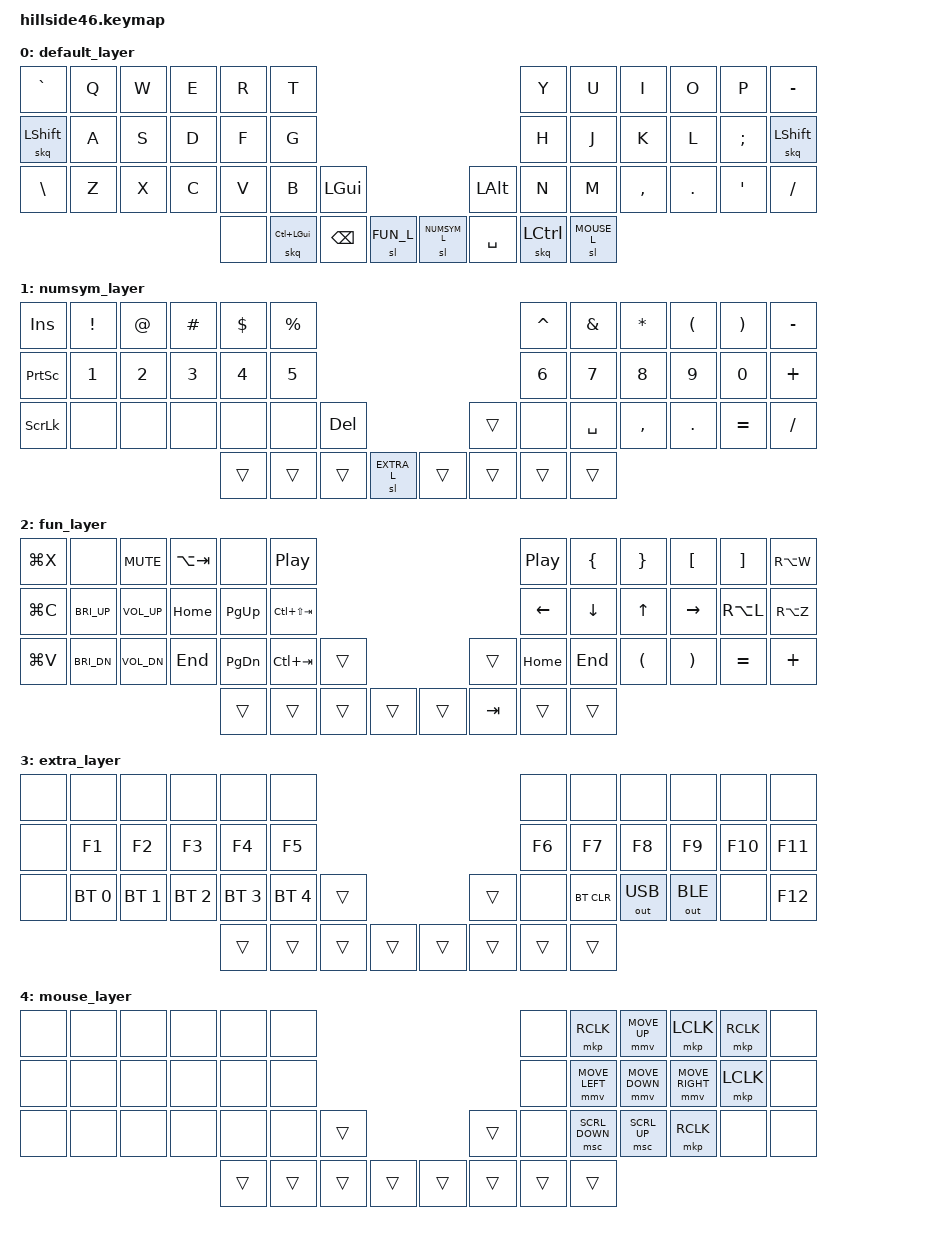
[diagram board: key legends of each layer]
/*
 * Copyright (c) 2021-2022 The ZMK Contributors
 *
 * SPDX-License-Identifier: MIT
 */

#include <behaviors.dtsi>
#include <dt-bindings/zmk/bt.h>
#include <dt-bindings/zmk/ext_power.h>
#include <dt-bindings/zmk/keys.h>
#include <dt-bindings/zmk/outputs.h>
#include <dt-bindings/zmk/mouse.h>
#include <behaviors/mouse_keys.dtsi>

#define QWERTY_L 0
#define NUMSYM_L 1
#define FUN_L    2
#define EXTRA_L  3
#define MOUSE_L  4

#define Undo   LG(Z)
#define Cut    LG(X)
#define Copy   LG(C)
#define Paste  LG(V)
#define Redo   LG(Y)

// MacOS
/* #define NOR_AE      RALT(KC_QUOTE) */
/* #define NOR_OE      RALT(KC_O) */
/* #define NOR_AA      RALT(KC_A) */
// Linux
#define NOR_AE      RA(Z)
#define NOR_OE      RA(L)
#define NOR_AA      RA(W)


/ {
        combos {
            compatible = "zmk,combos";

            escape {
                timeout-ms = <50>;
                key-positions = <30 40>;
                bindings = <&kp ESC>;
            };

            enter {
                timeout-ms = <50>;
                key-positions = <31 43>;
                bindings = <&kp ENTER>;
            };
        };

        behaviors {
            skq: sticky_key_quick_release {
                compatible = "zmk,behavior-sticky-key";
                label = "STICKY_KEY_QUICK_RELEASE";
                #binding-cells = <1>;
                bindings = <&kp>;
                release-after-ms = <1000>;
                quick-release;
            };
        };

        keymap {
                compatible = "zmk,keymap";

                default_layer {
/* QWERTY
 * -------------------------------------------------------------------------------------------------------------------------------------
 * | `     |   Q   |   W   |   E   |   R   |   T   |-----------------------------------|   Y   |   U   |   I   |   O   |   P   |   -   |
 * |OSMLSft|   A   |   S   |   D   |   F   |   G   |-----------------------------------|   H   |   J   |   K   |   L   |   ;   |OSMLSft|
 * | \     |   Z   |   X   |   C   |   V   |   B   |  GUI  |-------------------| ALT   |   N   |   M   |   ,   |   .   |   '   |   /   |
 *                                 |       |  WM   |  BKSP |  FUN  |---| NumSym| SPACE |  CTRL | MOUSE |
 */
                        bindings = <
&kp  GRAVE    &kp  Q        &kp  W        &kp  E        &kp  R        &kp  T                                                                         &kp  Y        &kp  U        &kp  I        &kp  O        &kp  P        &kp  MINUS
&skq LSHIFT   &kp  A        &kp  S        &kp  D        &kp  F        &kp  G                                                                         &kp  H        &kp  J        &kp  K        &kp  L        &kp  SEMI     &skq LSHIFT
&kp  BSLH     &kp  Z        &kp  X        &kp  C        &kp  V        &kp  B        &kp LGUI                                            &kp LALT     &kp  N        &kp  M        &kp  COMMA    &kp  DOT      &kp  SQT      &kp  SLASH
                                                        &none         &skq LC(LGUI) &kp  BKSP      &sl  FUN_L            &sl  NUMSYM_L  &kp SPACE    &skq LCTRL    &sl MOUSE_L
                        >;
                };
		
                numsym_layer {
/* NUMSYM
 * -------------------------------------------------------------------------------------------------------------------------------------
 * |Insert |   !   |   @   |   #   |   $   |   %   |-----------------------------------|   ^   |   &   |   *   |   (   |   )   |   -   |
 * |PrnScrn|   1   |   2   |   3   |   4   |   5   |-----------------------------------|   6   |   7   |   8   |   9   |   0   |   +   |
 * |ScrLck |       |       |       |       |       | Delete|-------------------|       |       | Space |   ,   |   .   |   =   |   /   |
 *                                 |       |       |       |  Extra |---|      |       |       |       |
 */
                        bindings = <
&kp INS     &kp  EXCL     &kp  AT       &kp  HASH     &kp  DOLLAR   &kp  PERCENT                                                                   &kp  CARET    &kp  AMPS     &kp  ASTRK    &kp  LPAR     &kp  RPAR     &kp MINUS
&kp PSCRN   &kp  N1       &kp  N2       &kp  N3       &kp  N4       &kp  N5                                                                        &kp  N6       &kp  N7       &kp  N8       &kp  N9       &kp  N0       &kp PLUS
&kp SLCK    &none         &none         &none         &none         &none         &kp  DEL                                           &trans        &none         &kp  SPACE    &kp  COMMA    &kp  DOT      &kp  EQUAL    &kp SLASH
                                                      &trans        &trans        &trans       &sl EXTRA_L              &trans       &trans        &trans        &trans
                        >;
                };
		
                fun_layer {
/* FUN
 * -------------------------------------------------------------------------------------------------------------------------------------
 * | Cut   |       | Mute  | AltTab|       | Play  |-----------------------------------| Play  |   {   |   }   |   [   |   ]   |  Å    |
 * | Copy  | BriUp | Vol+  | Home  | PgUp  |PrvTab |-----------------------------------| Left  |  Down |  Up   | Right |   Ø   |  Æ    |
 * | Paste | BriDn | Vol-  | End   | PgDn  |NxtTab |       |-------------------|       | BegLn | EndLn |  (    |  )    |   =   |  +    |
 *                                 |       |       |       |       |---|       |  TAB  |       |       |
 */
                        bindings = <
&kp  Cut      &none         &kp  C_MUTE   &kp  LA(TAB)  &none         &kp  C_PLAY_PAUSE                                                              &kp C_PLAY_PAUSE &kp  LBRC    &kp   RBRC    &kp   LBKT    &kp  RBKT     &kp NOR_AA
&kp  Copy     &kp  C_BRI_UP &kp  C_VOL_UP &kp  HOME     &kp  PG_UP    &kp  LC(LS(TAB))                                                               &kp   LEFT       &kp  DOWN    &kp   UP      &kp   RIGHT   &kp  NOR_OE   &kp NOR_AE
&kp  Paste    &kp  C_BRI_DN &kp  C_VOL_DN &kp  END      &kp  PG_DN    &kp  LC(TAB)  &trans                                             &trans        &kp   HOME       &kp  END     &kp   LPAR    &kp   RPAR    &kp  EQUAL    &kp PLUS
                                                        &trans        &trans        &trans        &trans                 &trans        &kp TAB       &trans           &trans
                        >;
                };

                extra_layer {
/* EXTRA
 * -------------------------------------------------------------------------------------------------------------------------------------
 * |       |       |       |       |       |       |-----------------------------------|       |       |       |       |       |       |
 * |       | F1    | F2    | F3    | F4    | F5    |-----------------------------------| F6    | F7    | F8    | F9    | F10   | F11   |
 * |       | BT 0  | BT 1  | BT 2  | BT 3  | BT 4  |       |-------------------|       |       | BT CLR|OUT_USB|OUT_BLE|       | F12   |
 *                                 |       |       |       |       |---|       |       |       |       |
 */
                        bindings = <
&none         &none         &none         &none         &none         &none                                                                             &none             &none              &none            &none             &none              &none
&none         &kp F1        &kp F2        &kp F3        &kp F4        &kp F5                                                                            &kp F6            &kp F7             &kp F8           &kp F9            &kp F10            &kp F11
&none         &bt  BT_SEL 0 &bt  BT_SEL 1 &bt  BT_SEL 2 &bt  BT_SEL 3 &bt  BT_SEL 4 &trans                                             &trans           &none             &bt BT_CLR         &out  OUT_USB    &out  OUT_BLE     &none              &kp F12
                                                        &trans        &trans        &trans        &trans                 &trans        &trans           &trans            &trans 
                        >;

                };

                mouse_layer {
/* MOUSE
 * -------------------------------------------------------------------------------------------------------------------------------------
 * |       |       |       |       |       |       |-----------------------------------|       |       |       |       |       |       |
 * |       |       |       |       |       |       |-----------------------------------|       |       |       |       |       |       |
 * |       |       |       |       |       |       |       |-------------------|       |       |       |       |       |       |       |
 *                                 |       |       |       |       |---|       |       |       |       |
 */
                        bindings = <
&none       &none      &none       &none       &none        &none                                                  &none        &mkp RCLK      &mmv MOVE_UP   &mkp LCLK       &mkp RCLK    &none
&none       &none      &none       &none       &none        &none                                                  &none        &mmv MOVE_LEFT &mmv MOVE_DOWN &mmv MOVE_RIGHT &mkp LCLK    &none
&none       &none      &none       &none       &none        &none      &trans                            &trans    &none        &msc SCRL_DOWN &msc SCRL_UP   &mkp RCLK       &none        &none
                                               &trans       &trans     &trans     &trans       &trans    &trans    &trans       &trans 
                        >;

                };
        };
};
